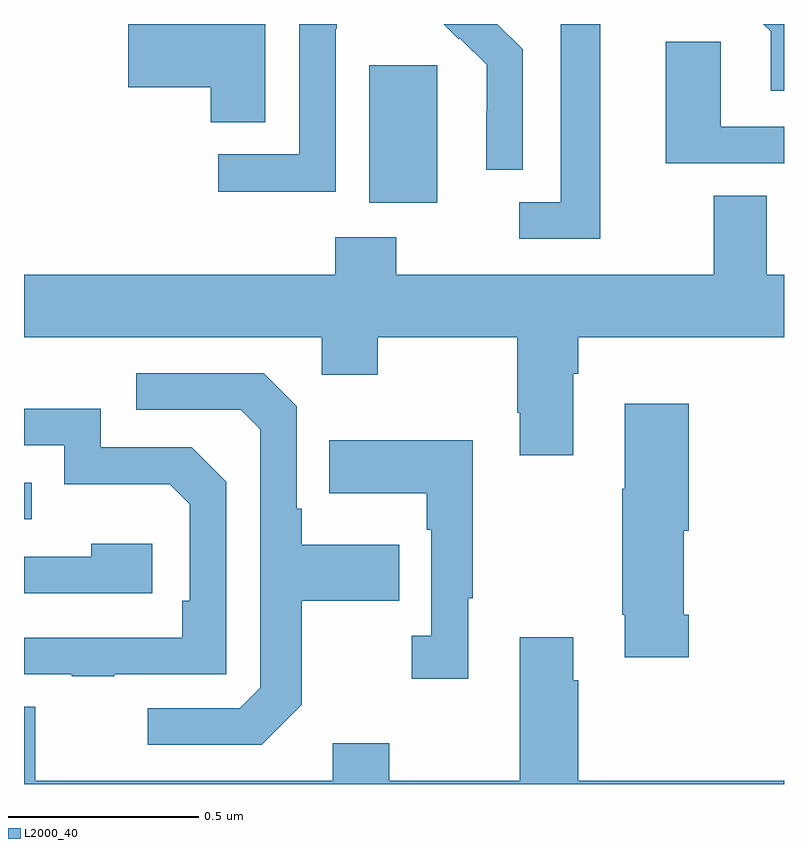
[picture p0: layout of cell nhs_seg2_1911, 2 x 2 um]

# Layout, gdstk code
import gdstk
lib = gdstk.Library(unit=1e-6, precision=1e-09)
def R(c, l, rs):  # rectangles x0, y0, x1, y1
    for r in rs: c.add(gdstk.rectangle(r[:2], r[2:], *l))
def P(c, l, *ps):  # polygons
    for p in ps: c.add(gdstk.Polygon(p, *l))
L2000_40 = (2000, 40)

nhs_seg2_1911 = lib.new_cell('nhs_seg2_1911')
R(nhs_seg2_1911, L2000_40, [(134,640.497,134.021,640.593), (134.909,641.33,135.088,641.691)])
P(nhs_seg2_1911, L2000_40, [(134.635,641.8),(134.274,641.8),(134.274,641.633),(134.492,641.633),(134.492,641.542),(134.635,641.542)],
  [(135.312,641.734),(135.246,641.8),(135.104,641.8),(135.144,641.76),(135.147,641.763),(135.218,641.693),(135.218,641.57),(135.216,641.57),(135.216,641.416),(135.312,641.416)],
  [(134.82,641.788),(134.823,641.788),(134.823,641.8),(134.724,641.8),(134.724,641.457),(134.511,641.457),(134.511,641.359),(134.82,641.359)],
  [(136,641.8),(135.946,641.8),(135.965,641.781),(135.965,641.625),(136,641.625)],
  [(135.517,641.8),(135.413,641.8),(135.413,641.331),(135.303,641.331),(135.303,641.235),(135.517,641.235)],
  [(136,641.529),(135.834,641.529),(135.834,641.753),(135.689,641.753),(135.689,641.433),(136,641.433)],
  [(135.445,640.88),(135.458,640.88),(135.458,640.976),(136,640.976),(136,641.14),(135.955,641.14),(135.955,641.348),(135.815,641.348),(135.815,641.14),(134.979,641.14),(134.979,641.239),(134.819,641.239),(134.819,641.14),(134,641.14),(134,640.976),(134.784,640.976),(134.784,640.877),(134.931,640.877),(134.931,640.976),(135.298,640.976),(135.298,640.777),(135.305,640.777),(135.305,640.665),(135.445,640.665)],
  [(134.731,640.009),(134.731,640.282),(134.987,640.282),(134.987,640.429),(134.731,640.429),(134.731,640.525),(134.718,640.525),(134.718,640.794),(134.631,640.881),(134.295,640.881),(134.295,640.785),(134.571,640.785),(134.622,640.734),(134.622,640.053),(134.568,639.999),(134.325,639.999),(134.325,639.903),(134.625,639.903)],
  [(135.749,640.246),(135.736,640.246),(135.736,640.467),(135.749,640.467),(135.749,640.801),(135.581,640.801),(135.581,640.577),(135.574,640.577),(135.574,640.246),(135.581,640.246),(135.581,640.134),(135.749,640.134)],
  [(134.237,640.089),(134.532,640.089),(134.532,640.596),(134.442,640.686),(134.202,640.686),(134.202,640.788),(134,640.788),(134,640.692),(134.106,640.692),(134.106,640.589),(134.383,640.589),(134.436,640.536),(134.436,640.282),(134.416,640.282),(134.416,640.185),(134,640.185),(134,640.089),(134.125,640.089),(134.125,640.084),(134.237,640.084)],
  [(135.169,640.289),(135.181,640.289),(135.181,640.705),(134.803,640.705),(134.803,640.565),(135.06,640.565),(135.06,640.469),(135.072,640.469),(135.072,640.19),(135.021,640.19),(135.021,640.077),(135.169,640.077)],
  [(134.338,640.432),(134.177,640.432),(134.177,640.398),(134,640.398),(134,640.302),(134.338,640.302)],
  [(136,639.808),(135.458,639.808),(135.458,640.073),(135.445,640.073),(135.445,640.186),(135.305,640.186),(135.305,639.808),(134.961,639.808),(134.961,639.907),(134.813,639.907),(134.813,639.808),(134.029,639.808),(134.029,640.003),(134,640.003),(134,639.8),(136,639.8)])

lib.write_gds('nhs_seg2_1911.gds')
